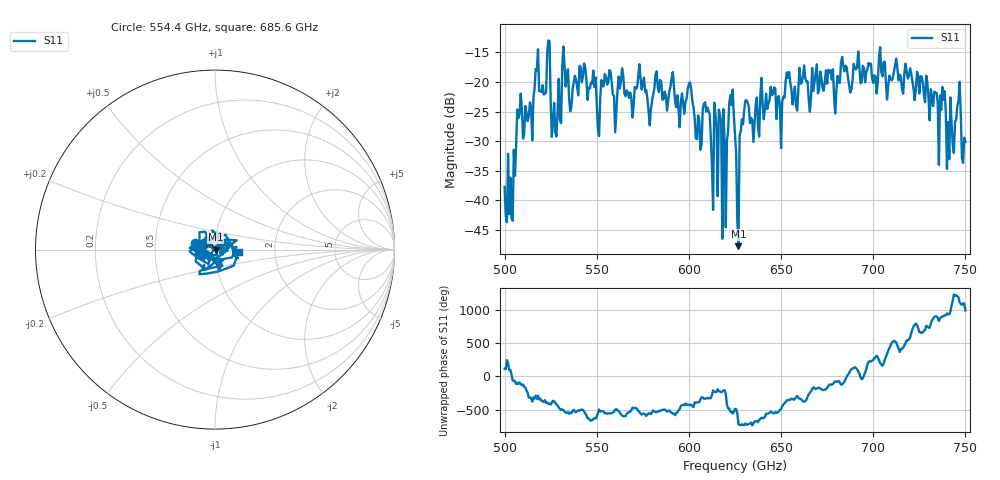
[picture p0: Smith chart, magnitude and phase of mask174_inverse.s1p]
!Created with skrf (http://scikit-rf.org).
# GHz S MA R 50.0
!freq magS11 angS11
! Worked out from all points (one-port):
!   401 points, 500 GHz to 750 GHz, reference 50 ohm
!   lowest |S11| = -47.7 dB at 626.9 GHz (marker M1), VSWR 1.01, Z = 50.4 + j0.00206 ohm
!   |S11| at or under -10 dB: start of sweep to end of sweep
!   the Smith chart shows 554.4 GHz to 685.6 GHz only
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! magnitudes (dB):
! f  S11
! 500 GHz  -37.7
! 503.8 GHz  -43.1
! 508.1 GHz  -25.4
! 513.8 GHz  -23.5
! 516.9 GHz  -17.8
! 523.8 GHz  -13.0
! 526.9 GHz  -23.5
! 531.2 GHz  -17.8
! 542.5 GHz  -19.1
! 551.2 GHz  -29.1
! 562.5 GHz  -21.1
! 593.8 GHz  -22.3
! 600.6 GHz  -20.1
! 605.6 GHz  -26.6
! 609.4 GHz  -25.0
! 611.9 GHz  -29.3
! 619.4 GHz  -30.6
! 623.1 GHz  -23.9
! 625 GHz  -28.9
! 626.9 GHz  -47.7
! 631.2 GHz  -23.1
! 656.2 GHz  -23.8
! 687.5 GHz  -21.8
! 718.8 GHz  -19.4
! 737.5 GHz  -20.8
! 741.2 GHz  -33.1
! 746.2 GHz  -23.2
! 750 GHz  -30.1
